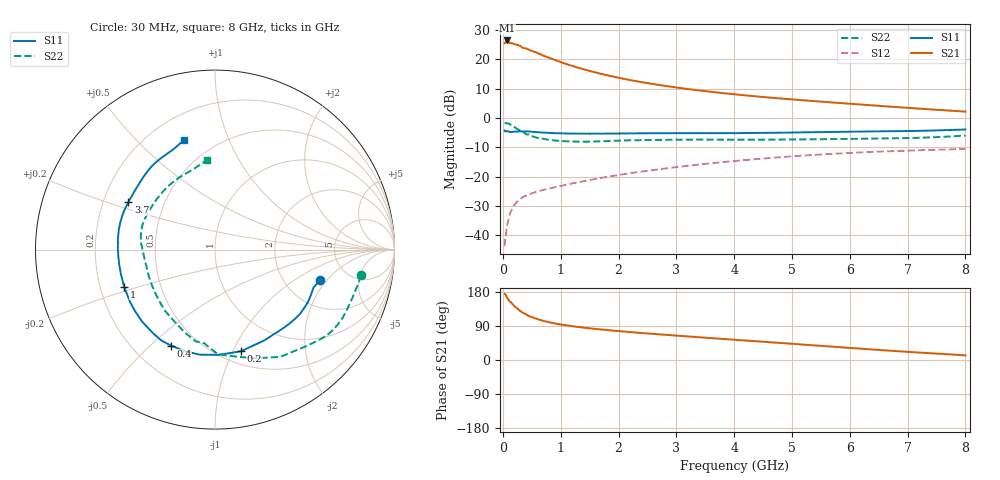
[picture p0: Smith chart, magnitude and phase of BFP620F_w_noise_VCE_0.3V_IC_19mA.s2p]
! Infineon Technologies  Discrete & RF Semiconductors
! BFP620F
! VCE =  0.3 V,  IC =  19 mA
! Common Emitter S-Parameters:  Dec 2014
# GHz  S  MA  R  50
!  f  S11  S21  S12  S22
! GHz  MAG  ANG  MAG  ANG  MAG  ANG  MAG  ANG
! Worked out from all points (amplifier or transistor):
!   95 points, 30 MHz to 8 GHz, reference 50 ohm
!   highest |S21| = 26.4 dB at 70 MHz (marker M1)
!   |S21| within 3 dB of that: start of sweep to 433.8 MHz
!   unconditionally stable (mu >= 1): 2.317 GHz to end of sweep
!   at 300 MHz: K = 0.28, MSG = 26.1 dB, |S12| = -27.7 dB
!   at 3.3 GHz: K = 1.04, MAG = 11.6 dB, |S12| = -16.1 dB
!   at 8 GHz: K = 1.10, MAG = 4.5 dB, |S12| = -10.6 dB
!   lowest NFmin = 0.81 dB at 450 MHz
!   S11 on the Smith chart (normalised r, x): 30 MHz: 3.15, -1.69; 200 MHz: 0.63, -1.08; 400 MHz: 0.36, -0.58; 1 GHz: 0.30, -0.18; 3.7 GHz: 0.31, +0.23; 8 GHz: 0.34, +0.70
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0.03  0.6104 -16.0  18.93 174.3  0.0065 75.8  0.825 -10.0
0.04  0.5883 -21.0  19.18 173.0  0.0084 77.6  0.8209 -13.2
0.05  0.5909 -25.1  20.05 171.5  0.0091 67.1  0.8147 -16.2
0.07  0.5942 -32.8  20.97 165.5  0.0139 75.3  0.8089 -21.8
0.09  0.5896 -40.9  20.39 160.1  0.017 73.3  0.8063 -27.9
0.12  0.5764 -52.3  18.91 154.6  0.023 68.1  0.7838 -37.9
0.15  0.5755 -61.8  18.9 150.4  0.0264 64.2  0.7426 -46.1
0.2  0.5846 -75.6  18.14 141.8  0.0329 60.2  0.7 -58.6
0.3  0.5916 -98.3  16.91 129.1  0.0414 52.6  0.6066 -79.2
0.35  0.59 -107.1  15.62 124.3  0.0449 50.8  0.5827 -88.5
0.4  0.5883 -114.7  15.37 120.7  0.0474 48.6  0.5253 -96.6
0.45  0.5878 -120.4  14.6 115.8  0.0495 47.8  0.5224 -101.9
0.7  0.5625 -142.2  11.55 103.3  0.0591 45.6  0.4397 -129.7
1  0.5472 -157.9  8.969 93.7  0.0693 46.6  0.4047 -149.6
1.4  0.5403 -171.2  6.752 85.4  0.0835 48.0  0.3934 -167.4
2  0.5424 175.4  4.858 76.3  0.1066 48.7  0.4092 176.8
2.7  0.5486 164.2  3.653 67.8  0.1332 47.1  0.4225 167.0
3.7  0.5508 151.1  2.723 56.7  0.1724 42.3  0.4269 156.0
4.1  0.552 146.3  2.478 52.4  0.1879 40.0  0.4255 151.2
5.4  0.5718 132.8  1.932 38.4  0.2347 30.7  0.4328 133.9
6.7  0.5931 119.3  1.558 24.6  0.2703 20.2  0.4489 115.7
8  0.6365 105.8  1.282 12.2  0.2954 10.2  0.5012 95.0
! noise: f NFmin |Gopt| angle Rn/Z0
0.45  0.81  0.06  3  0.21
0.9  0.87  0.06  11  0.18
1.5  0.92  0.06  12  0.14
1.8  0.94  0.05  14  0.14
1.9  0.95  0.03  31  0.16
2.4  0.98  0.02  68  0.15
3.5  1.06  0.03  160  0.14
5.5  1.2  0.14  227  0.1
6  1.23  0.14  248  0.14
